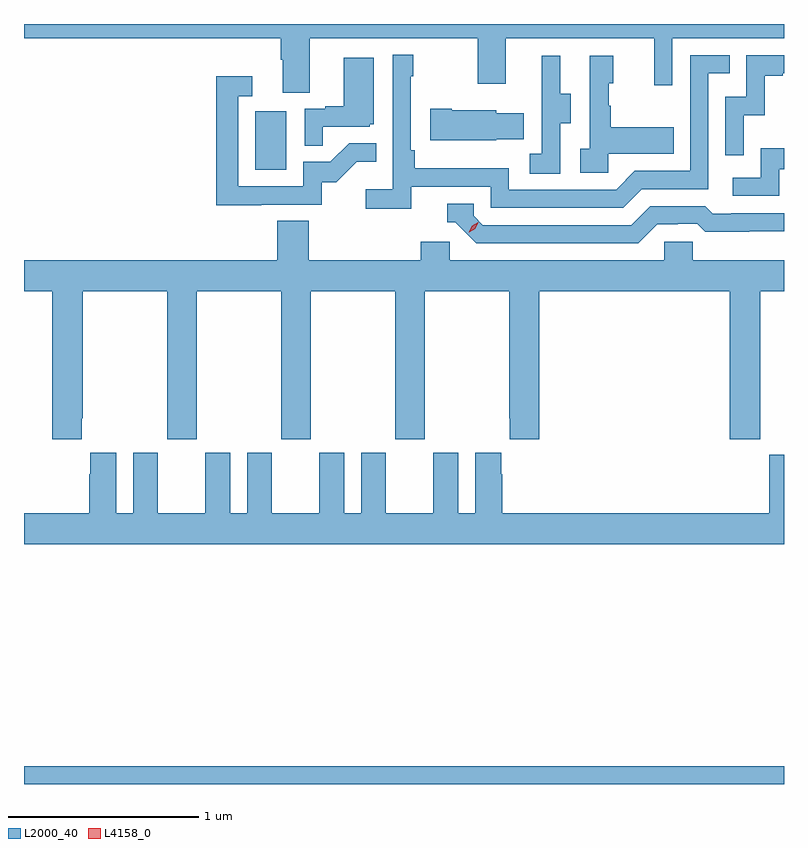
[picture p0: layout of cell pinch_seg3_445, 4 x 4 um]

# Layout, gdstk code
import gdstk
lib = gdstk.Library(unit=1e-6, precision=1e-09)
def R(c, l, rs):  # rectangles x0, y0, x1, y1
    for r in rs: c.add(gdstk.rectangle(r[:2], r[2:], *l))
def P(c, l, *ps):  # polygons
    for p in ps: c.add(gdstk.Polygon(p, *l))
L2000_40 = (2000, 40)
L4158_0 = (4158, 0)

pinch_seg3_445 = lib.new_cell('pinch_seg3_445')
R(pinch_seg3_445, L2000_40, [(920.902,682.339,924.902,682.432), (922.118,685.572,922.282,685.879)])
P(pinch_seg3_445, L2000_40, [(922.405,686.264),(923.29,686.264),(923.29,686.025),(923.437,686.025),(923.437,686.264),(924.218,686.264),(924.218,686.016),(924.315,686.016),(924.315,686.264),(924.902,686.264),(924.902,686.339),(920.902,686.339),(920.902,686.264),(922.253,686.264),(922.253,686.152),(922.265,686.152),(922.265,685.978),(922.405,685.978)],
  [(922.94,685.482),(923.358,685.482),(923.358,685.371),(924.055,685.371),(924.154,685.47),(924.504,685.47),(924.504,686.079),(924.617,686.079),(924.617,686.175),(924.408,686.175),(924.408,685.566),(924.117,685.566),(924.018,685.467),(923.454,685.467),(923.454,685.579),(922.958,685.579),(922.958,685.675),(922.938,685.675),(922.938,686.063),(922.951,686.063),(922.951,686.176),(922.842,686.176),(922.842,685.468),(922.701,685.468),(922.701,685.366),(922.94,685.366)],
  [(924.69,685.859),(924.8,685.859),(924.8,686.067),(924.895,686.067),(924.895,686.079),(924.902,686.079),(924.902,686.175),(924.702,686.175),(924.702,685.956),(924.594,685.956),(924.594,685.647),(924.69,685.647)],
  [(923.976,685.655),(924.323,685.655),(924.323,685.795),(923.989,685.795),(923.989,685.91),(923.979,685.91),(923.979,686.028),(924.004,686.028),(924.004,686.173),(923.88,686.173),(923.88,685.682),(923.829,685.682),(923.829,685.557),(923.976,685.557)],
  [(923.724,685.816),(923.779,685.816),(923.779,685.971),(923.725,685.971),(923.725,686.173),(923.627,686.173),(923.627,685.959),(923.628,685.959),(923.628,685.655),(923.565,685.655),(923.565,685.552),(923.724,685.552)],
  [(922.475,685.797),(922.722,685.797),(922.722,685.812),(922.744,685.812),(922.744,686.161),(922.586,686.161),(922.586,685.906),(922.487,685.906),(922.487,685.893),(922.38,685.893),(922.38,685.699),(922.475,685.699)],
  [(922.151,685.389),(922.47,685.389),(922.47,685.506),(922.546,685.506),(922.653,685.613),(922.757,685.613),(922.757,685.712),(922.613,685.712),(922.515,685.614),(922.371,685.614),(922.371,685.485),(922.029,685.485),(922.029,685.959),(922.102,685.959),(922.102,686.065),(921.913,686.065),(921.913,685.384),(922.151,685.384)],
  [(923.388,685.733),(923.531,685.733),(923.531,685.87),(923.388,685.87),(923.388,685.885),(923.152,685.885),(923.152,685.893),(923.04,685.893),(923.04,685.727),(923.388,685.727)],
  [(924.876,685.575),(924.902,685.575),(924.902,685.684),(924.78,685.684),(924.78,685.53),(924.633,685.53),(924.633,685.434),(924.876,685.434)],
  [(924.235,685.284),(924.342,685.284),(924.342,685.287),(924.445,685.287),(924.487,685.245),(924.72,685.245),(924.72,685.247),(924.902,685.247),(924.902,685.344),(924.625,685.344),(924.625,685.341),(924.526,685.341),(924.487,685.38),(924.198,685.38),(924.099,685.281),(923.316,685.281),(923.268,685.329),(923.268,685.392),(923.129,685.392),(923.129,685.296),(923.172,685.296),(923.283,685.185),(924.136,685.185)],
  [(921.205,684.265),(921.21,684.265),(921.21,684.932),(921.655,684.932),(921.655,684.153),(921.81,684.153),(921.81,684.932),(922.255,684.932),(922.255,684.153),(922.41,684.153),(922.41,684.932),(922.855,684.932),(922.855,684.153),(923.01,684.153),(923.01,684.932),(923.455,684.932),(923.455,684.265),(923.459,684.265),(923.459,684.153),(923.615,684.153),(923.615,684.932),(924.617,684.932),(924.617,684.153),(924.777,684.153),(924.777,684.932),(924.902,684.932),(924.902,685.096),(924.423,685.096),(924.423,685.194),(924.273,685.194),(924.273,685.096),(923.142,685.096),(923.142,685.194),(922.991,685.194),(922.991,685.096),(922.4,685.096),(922.4,685.304),(922.235,685.304),(922.235,685.096),(920.902,685.096),(920.902,684.932),(921.05,684.932),(921.05,684.153),(921.205,684.153)],
  [(924.902,684.073),(924.824,684.073),(924.824,683.764),(923.42,683.764),(923.42,683.969),(923.413,683.969),(923.413,684.082),(923.276,684.082),(923.276,683.764),(923.188,683.764),(923.188,684.082),(923.057,684.082),(923.057,683.764),(922.807,683.764),(922.807,684.082),(922.676,684.082),(922.676,683.764),(922.588,683.764),(922.588,684.082),(922.457,684.082),(922.457,683.764),(922.207,683.764),(922.207,684.082),(922.076,684.082),(922.076,683.764),(921.988,683.764),(921.988,684.082),(921.857,684.082),(921.857,683.764),(921.607,683.764),(921.607,684.082),(921.476,684.082),(921.476,683.764),(921.388,683.764),(921.388,684.082),(921.251,684.082),(921.251,683.969),(921.245,683.969),(921.245,683.764),(920.902,683.764),(920.902,683.6),(924.902,683.6)])
P(pinch_seg3_445, L4158_0, [(923.244,685.243),(923.244,685.243),(923.261,685.276),(923.292,685.295),(923.292,685.295),(923.292,685.295),(923.276,685.262),(923.245,685.243)])

lib.write_gds('pinch_seg3_445.gds')
